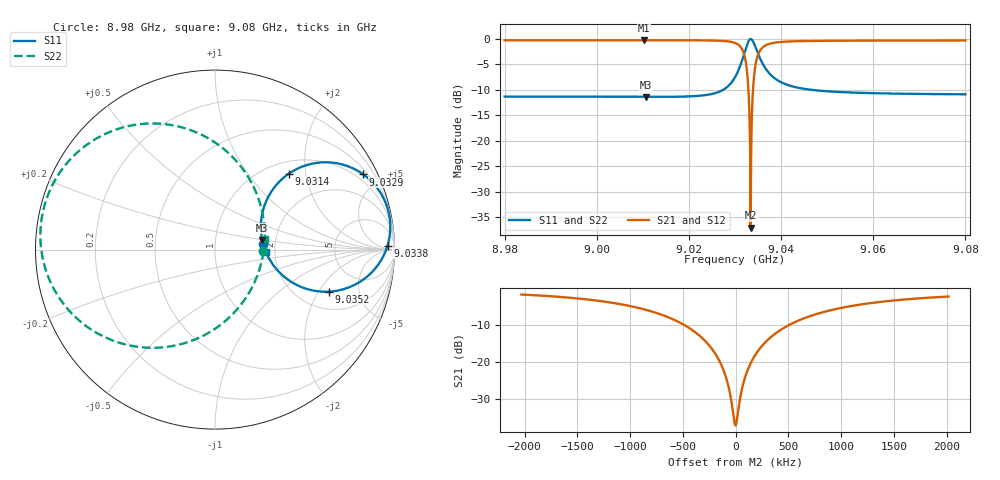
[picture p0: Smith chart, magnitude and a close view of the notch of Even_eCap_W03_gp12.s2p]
! Sonnet Data File
! From: emgraph Version : 16.52
! From Project: Resonator2_extremeCap
! Data is De-embedded
! Data File Written: 10/09/2017 23:02:46
!< HDATE 10/09/2017 15:24:44
!< MDATE 10/09/2017 17:18:05
!< PARAMS
!< Pwid1 = 2000.0
!< Pwid2 = 2000.0
!< Air_gap = 1.8
!< Width = 3.0
!< Gap = 12.0
!< END PARAMS
# GHZ S MA R 51.80000
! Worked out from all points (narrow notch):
!   1594 points, 8.98 GHz to 9.08 GHz, reference 51.8 ohm
!   highest |S21| = -0.32 dB at 9.0103 GHz (marker M1); lowest = -37.1 dB at 9.0334 GHz (marker M2)
!   notch at M2: 36.7 dB deep, 344 kHz wide at half that depth
!   lowest |S11| = -11.4 dB at 9.0107 GHz (marker M3), VSWR 1.73, Z = 88 + j10.1 ohm
!   |S11| at or under -10 dB: start of sweep to 9.0275 GHz; 9.046137 GHz to end of sweep
!   |S22| runs from -11.4 to -0.2 dB; largest |S21 - S12| = 0
!   S11 on the Smith chart (normalised r, x): 8.98 GHz: 1.73, +0.11; 9.0314 GHz: 1.24, +1.60; 9.0329 GHz: 0.69, +4.07; 9.0338 GHz: 38, +22; 9.0352 GHz: 2.89, -2.50; 9.08 GHz: 1.79, -0.06
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8.98  0.27 6.2  0.9628 -87.7  0.9628 -87.7  0.27 -1.6
!< P1 F=8.98 Eeff=(6.4465636 -2.9718e-5) Z0=(62.882963 1.45104e-4) R=0.0 C=0.0
!< P2 F=8.98 Eeff=(6.4465636 -2.9718e-5) Z0=(62.882963 1.45104e-4) R=0.0 C=0.0
8.9967  0.269 7.9  0.9631 -88.5  0.9631 -88.5  0.2689 -5.0
9.0103  0.268 11.3  0.9634 -90.0  0.9634 -90.0  0.2679 -11.3
9.0107  0.268 11.5  0.9634 -90.0  0.9634 -90.0  0.2679 -11.6
9.0134  0.2681 12.8  0.9633 -90.5  0.9633 -90.5  0.268 -13.9
9.0247  0.2844 26.2  0.9584 -95.9  0.9584 -95.9  0.2837 -38.0
9.03  0.4178 44.7  0.9067 -109.7  0.9067 -109.7  0.4148 -84.6
9.031414  0.5879 45.8  0.8042 -123.1  0.8042 -123.1  0.5831 -113.2
9.032199  0.7619 39.6  0.6375 -137.9  0.6375 -137.9  0.7555 -137.4
9.032853  0.9264 26.9  0.3503 -156.8  0.3503 -156.8  0.9188 -165.0
9.033228  0.9827 16.6  0.1159 -166.6  0.1159 -166.6  0.9748 176.3
9.033318  0.9878 14.0  0.05641 -162.7  0.05641 -162.7  0.98 171.7
9.0334  0.9894 11.6  0.01397 -88.3  0.01397 -88.3  0.9816 167.6
9.033521  0.9863 8.1  0.08218 -14.9  0.08218 -14.9  0.9786 161.4
9.033769  0.9616 1.3  0.2371 -17.8  0.2371 -17.8  0.9544 149.4
9.034302  0.8588 -10.2  0.4983 -32.8  0.4983 -32.8  0.8527 127.1
9.0352  0.6779 -20.2  0.7299 -50.3  0.7299 -50.3  0.6738 100.8
9.036308  0.5369 -23.4  0.8413 -61.6  0.8413 -61.6  0.5342 80.7
9.0381  0.4264 -22.0  0.9036 -70.4  0.9036 -70.4  0.4249 61.5
9.0467  0.314 -11.3  0.9493 -80.8  0.9493 -80.8  0.3137 29.7
9.0634  0.2894 -4.9  0.9572 -84.3  0.9572 -84.3  0.2893 16.3
9.08  0.2841 -2.9  0.9588 -85.4  0.9588 -85.4  0.2841 12.1
